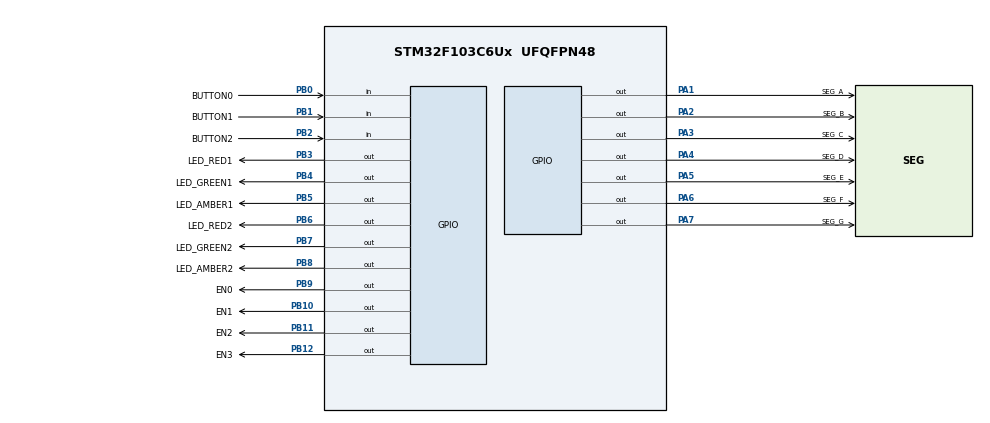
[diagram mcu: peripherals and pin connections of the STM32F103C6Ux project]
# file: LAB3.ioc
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Mcu.Family=STM32F1
Mcu.Name=STM32F103C6Ux
Mcu.Package=UFQFPN48
NVIC.PriorityGroup=NVIC_PRIORITYGROUP_4
NVIC.TIM2_IRQn=true\:0\:0\:false\:false\:true\:true\:true
PA1.GPIO_Label=SEG_A
PA1.Signal=GPIO_Output
PA2.GPIO_Label=SEG_B
PA2.Signal=GPIO_Output
PA3.GPIO_Label=SEG_C
PA3.Signal=GPIO_Output
PA4.GPIO_Label=SEG_D
PA4.Signal=GPIO_Output
PA5.GPIO_Label=SEG_E
PA5.Signal=GPIO_Output
PA6.GPIO_Label=SEG_F
PA6.Signal=GPIO_Output
PA7.GPIO_Label=SEG_G
PA7.Signal=GPIO_Output
PB0.GPIO_Label=BUTTON0
PB0.GPIO_PuPd=GPIO_PULLUP
PB0.Signal=GPIO_Input
PB1.GPIO_Label=BUTTON1
PB1.GPIO_PuPd=GPIO_PULLUP
PB1.Signal=GPIO_Input
PB10.GPIO_Label=EN1
PB10.Signal=GPIO_Output
PB11.GPIO_Label=EN2
PB11.Signal=GPIO_Output
PB12.GPIO_Label=EN3
PB12.Signal=GPIO_Output
PB2.GPIO_Label=BUTTON2
PB2.GPIO_PuPd=GPIO_PULLUP
PB2.Signal=GPIO_Input
PB3.GPIO_Label=LED_RED1
PB3.Signal=GPIO_Output
PB4.GPIO_Label=LED_GREEN1
PB4.Signal=GPIO_Output
PB5.GPIO_Label=LED_AMBER1
PB5.Signal=GPIO_Output
PB6.GPIO_Label=LED_RED2
PB6.Signal=GPIO_Output
PB7.GPIO_Label=LED_GREEN2
PB7.Signal=GPIO_Output
PB8.GPIO_Label=LED_AMBER2
PB8.Signal=GPIO_Output
PB9.GPIO_Label=EN0
PB9.Signal=GPIO_Output
ProjectManager.HeapSize=0x200
ProjectManager.StackSize=0x400
ProjectManager.TargetToolchain=STM32CubeIDE
RCC.APB1Freq_Value=8000000
RCC.APB2Freq_Value=8000000
TIM2.Period=9
TIM2.Prescaler=7999
VP_SYS_VS_ND.Mode=No_Debug
VP_TIM2_VS_ClockSourceINT.Mode=Internal
board=custom

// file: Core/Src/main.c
/* USER CODE BEGIN Header */
/**
  ******************************************************************************
  * @file           : main.c
  * @brief          : Main program body
  ******************************************************************************
  * @attention
  *
  * <h2><center>&copy; Copyright (c) 2025 STMicroelectronics.
  * All rights reserved.</center></h2>
  *
  * This software component is licensed by ST under BSD 3-Clause license,
  * the "License"; You may not use this file except in compliance with the
  * License. You may obtain a copy of the License at:
  *                        opensource.org/licenses/BSD-3-Clause
  *
  ******************************************************************************
  */
/* USER CODE END Header */
#include <fsm.h>
#include "main.h"

/* USER CODE BEGIN Includes */
#include "input_reading.h"
#include "software_timer.h"
#include "traffic_led.h"
#include "led_display.h"
/* USER CODE END Includes */

TIM_HandleTypeDef htim2;

void SystemClock_Config(void);
static void MX_GPIO_Init(void);
static void MX_TIM2_Init(void);

int main(void)
{

  /* MCU Configuration--------------------------------------------------------*/

  /* Reset of all peripherals, Initializes the Flash interface and the Systick. */
  HAL_Init();

  /* Configure the system clock */
  SystemClock_Config();

  /* Initialize all configured peripherals */
  MX_GPIO_Init();
  MX_TIM2_Init();
  /* USER CODE BEGIN 2 */
  HAL_TIM_Base_Start_IT (&htim2 );

  button_reading_Init();
  LED_TRAFFIC_STORE_BUFFER(5, 0);
  LED_TRAFFIC_STORE_BUFFER(2, 1);
  LED_TRAFFIC_STORE_BUFFER(3, 2);
  LED_TRAFFIC_LOAD_BUFFER();
  /* USER CODE END 2 */

  /* Infinite loop */
  /* USER CODE BEGIN WHILE */

  setTimer0(1000);
  setTimer1(250);
  setTimer2(1000);
  while (1)
  {
	  fsm_for_output_processing();
    /* USER CODE END WHILE */

  }
}

void SystemClock_Config(void)
{
  RCC_OscInitTypeDef RCC_OscInitStruct = {0};
  RCC_ClkInitTypeDef RCC_ClkInitStruct = {0};

  /** Initializes the RCC Oscillators according to the specified parameters
  * in the RCC_OscInitTypeDef structure.
  */
  RCC_OscInitStruct.OscillatorType = RCC_OSCILLATORTYPE_HSI;
  RCC_OscInitStruct.HSIState = RCC_HSI_ON;
  RCC_OscInitStruct.HSICalibrationValue = RCC_HSICALIBRATION_DEFAULT;
  RCC_OscInitStruct.PLL.PLLState = RCC_PLL_NONE;
  if (HAL_RCC_OscConfig(&RCC_OscInitStruct) != HAL_OK)
  {
    Error_Handler();
  }
  /** Initializes the CPU, AHB and APB buses clocks
  */
  RCC_ClkInitStruct.ClockType = RCC_CLOCKTYPE_HCLK|RCC_CLOCKTYPE_SYSCLK
                              |RCC_CLOCKTYPE_PCLK1|RCC_CLOCKTYPE_PCLK2;
  RCC_ClkInitStruct.SYSCLKSource = RCC_SYSCLKSOURCE_HSI;
  RCC_ClkInitStruct.AHBCLKDivider = RCC_SYSCLK_DIV1;
  RCC_ClkInitStruct.APB1CLKDivider = RCC_HCLK_DIV1;
  RCC_ClkInitStruct.APB2CLKDivider = RCC_HCLK_DIV1;

  if (HAL_RCC_ClockConfig(&RCC_ClkInitStruct, FLASH_LATENCY_0) != HAL_OK)
  {
    Error_Handler();
  }
}

static void MX_TIM2_Init(void)
{

  TIM_ClockConfigTypeDef sClockSourceConfig = {0};
  TIM_MasterConfigTypeDef sMasterConfig = {0};

  htim2.Instance = TIM2;
  htim2.Init.Prescaler = 7999;
  htim2.Init.CounterMode = TIM_COUNTERMODE_UP;
  htim2.Init.Period = 9;
  htim2.Init.ClockDivision = TIM_CLOCKDIVISION_DIV1;
  htim2.Init.AutoReloadPreload = TIM_AUTORELOAD_PRELOAD_DISABLE;
  if (HAL_TIM_Base_Init(&htim2) != HAL_OK)
  {
    Error_Handler();
  }
  sClockSourceConfig.ClockSource = TIM_CLOCKSOURCE_INTERNAL;
  if (HAL_TIM_ConfigClockSource(&htim2, &sClockSourceConfig) != HAL_OK)
  {
    Error_Handler();
  }
  sMasterConfig.MasterOutputTrigger = TIM_TRGO_RESET;
  sMasterConfig.MasterSlaveMode = TIM_MASTERSLAVEMODE_DISABLE;
  if (HAL_TIMEx_MasterConfigSynchronization(&htim2, &sMasterConfig) != HAL_OK)
  {
    Error_Handler();
  }

}

static void MX_GPIO_Init(void)
{
  GPIO_InitTypeDef GPIO_InitStruct = {0};

  /* GPIO Ports Clock Enable */
  __HAL_RCC_GPIOA_CLK_ENABLE();
  __HAL_RCC_GPIOB_CLK_ENABLE();

  /*Configure GPIO pin Output Level */
  HAL_GPIO_WritePin(GPIOA, SEG_A_Pin|SEG_B_Pin|SEG_C_Pin|SEG_D_Pin
                          |SEG_E_Pin|SEG_F_Pin|SEG_G_Pin, GPIO_PIN_RESET);

  /*Configure GPIO pin Output Level */
  HAL_GPIO_WritePin(GPIOB, EN1_Pin|EN2_Pin|EN3_Pin|LED_RED1_Pin
                          |LED_GREEN1_Pin|LED_AMBER1_Pin|LED_RED2_Pin|LED_GREEN2_Pin
                          |LED_AMBER2_Pin|EN0_Pin, GPIO_PIN_RESET);

  /*Configure GPIO pins : SEG_A_Pin SEG_B_Pin SEG_C_Pin SEG_D_Pin
                           SEG_E_Pin SEG_F_Pin SEG_G_Pin */
  GPIO_InitStruct.Pin = SEG_A_Pin|SEG_B_Pin|SEG_C_Pin|SEG_D_Pin
                          |SEG_E_Pin|SEG_F_Pin|SEG_G_Pin;
  GPIO_InitStruct.Mode = GPIO_MODE_OUTPUT_PP;
  GPIO_InitStruct.Pull = GPIO_NOPULL;
  GPIO_InitStruct.Speed = GPIO_SPEED_FREQ_LOW;
  HAL_GPIO_Init(GPIOA, &GPIO_InitStruct);

  /*Configure GPIO pins : BUTTON0_Pin BUTTON1_Pin BUTTON2_Pin */
  GPIO_InitStruct.Pin = BUTTON0_Pin|BUTTON1_Pin|BUTTON2_Pin;
  GPIO_InitStruct.Mode = GPIO_MODE_INPUT;
  GPIO_InitStruct.Pull = GPIO_PULLUP;
  HAL_GPIO_Init(GPIOB, &GPIO_InitStruct);

  /*Configure GPIO pins : EN1_Pin EN2_Pin EN3_Pin LED_RED1_Pin
                           LED_GREEN1_Pin LED_AMBER1_Pin LED_RED2_Pin LED_GREEN2_Pin
                           LED_AMBER2_Pin EN0_Pin */
  GPIO_InitStruct.Pin = EN1_Pin|EN2_Pin|EN3_Pin|LED_RED1_Pin
                          |LED_GREEN1_Pin|LED_AMBER1_Pin|LED_RED2_Pin|LED_GREEN2_Pin
                          |LED_AMBER2_Pin|EN0_Pin;
  GPIO_InitStruct.Mode = GPIO_MODE_OUTPUT_PP;
  GPIO_InitStruct.Pull = GPIO_NOPULL;
  GPIO_InitStruct.Speed = GPIO_SPEED_FREQ_LOW;
  HAL_GPIO_Init(GPIOB, &GPIO_InitStruct);

}

/* USER CODE BEGIN 4 */
void HAL_TIM_PeriodElapsedCallback ( TIM_HandleTypeDef * htim )
{
	button_reading();
	timer_run();
}
/* USER CODE END 4 */

void Error_Handler(void)
{
  __disable_irq();
  while (1)
  {
  }
}

/************************ (C) COPYRIGHT STMicroelectronics *****END OF FILE****/
